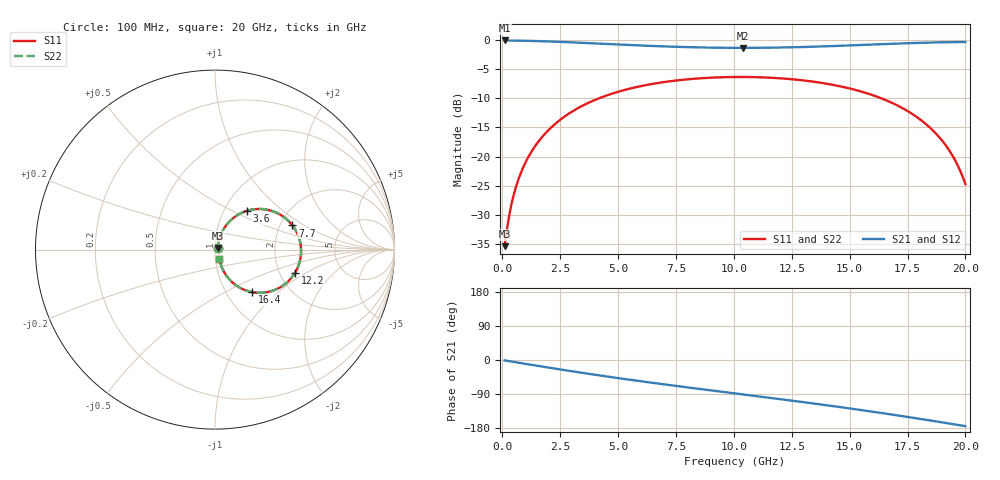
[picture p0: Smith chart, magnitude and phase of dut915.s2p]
! Touchstone file exported from HFSS 2026.1.0
!  File:  C:/ffzhzh/LocalFiles/Ansys_Project_Files/temp_train_TSV_RDL_915_1783278646_38704.aedt
!  Generated:  03:19:28 AM Jul  6, 2026
!  Design:  TSV_RDL
!  Project:  temp_train_TSV_RDL_915_1783278646_38704
! Variables:
!  h_bsmrdl = 3.69um
!  h_ox = 20um
!  h_rdl = 5um
!  h_sub = 78.26um
!  h_tmrdl = 5.04um
!  h_tsv = 78.26um
!  h_via = 3um
!  l_bsmrdl = 551.49um
!  l_sub = 2828.33um
!  l_tmrdl = 165.67um
!  m_sub = 200um
!  pitch = 40.9um
!  r_tsv = 9.58um
!  s_tmrdl = 10um
!  w_bsmrdl = 14.59um
!  w_sub = 500um
!  w_tmrdl = 22.47um
!  x_tsv_center1 = 176.905um
!  x_tsv_center2 = 742.985um
!  x_tsv_center3 = 931.125um
!  x_tsv_center4 = 1497.205um
!  x_tsv_center5 = 1685.345um
!  x_tsv_center6 = 2251.425um
# GHz S MA R 50.000000
! Terminal data exported
! Port[1] = TM_RDL1_1_T1
! Port[2] = TM_RDL5_1_T1
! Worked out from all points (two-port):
!   200 points, 100 MHz to 20 GHz, reference 50 ohm
!   highest |S21| = -0.12 dB at 100 MHz (marker M1); lowest = -1.4 dB at 10.4 GHz (marker M2)
!   |S21| within 3 dB of the highest: start of sweep to end of sweep
!   lowest |S11| = -35.4 dB at 100 MHz (marker M3), VSWR 1.03, Z = 51.5 + j0.943 ohm
!   |S11| at or under -10 dB: start of sweep to 4.196 GHz; 16.35 GHz to end of sweep
!   |S22| runs from -35.4 to -6.4 dB; largest |S21 - S12| = 1.8e-14
!   S11 on the Smith chart (normalised r, x): 100 MHz: 1.03, +0.02; 3.6 GHz: 1.28, +0.60; 7.7 GHz: 2.33, +0.79; 12.2 GHz: 2.42, -0.80; 16.4 GHz: 1.31, -0.69; 20 GHz: 1.05, -0.11
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0.1  0.01707 32.5  0.9857 -1.1  0.9857 -1.1  0.01707 32.5
! Gamma 0 0 0 0
! Port Impedance 50 0 50 0
0.3  0.03137 57.9  0.9844 -3.1  0.9844 -3.1  0.03137 57.9
0.5  0.04752 65.2  0.983 -5.2  0.983 -5.2  0.04752 65.2
0.8  0.07226 68.4  0.9807 -8.2  0.9807 -8.2  0.07226 68.4
1.1  0.097 68.5  0.978 -11.2  0.978 -11.2  0.097 68.5
2.1  0.1764 62.7  0.9653 -21.0  0.9653 -21.0  0.1764 62.7
3.5  0.2745 51.3  0.9403 -34.3  0.9403 -34.3  0.2745 51.3
3.6  0.2808 50.4  0.9383 -35.2  0.9383 -35.2  0.2808 50.4
5.1  0.3629 37.9  0.9086 -48.6  0.9086 -48.6  0.3629 37.9
6.8  0.4284 24.3  0.8792 -62.8  0.8792 -62.8  0.4284 24.3
7.7  0.4519 17.3  0.8673 -70.0  0.8673 -70.0  0.4519 17.3
10.1  0.4797 -0.6  0.852 -88.6  0.852 -88.6  0.4797 -0.6
10.4  0.4798 -2.8  0.8518 -90.9  0.8518 -90.9  0.4798 -2.8
12.2  0.4643 -16.2  0.8591 -104.8  0.8591 -104.8  0.4643 -16.2
13.4  0.4383 -25.3  0.871 -114.4  0.871 -114.4  0.4383 -25.3
15  0.3827 -37.8  0.8936 -127.7  0.8936 -127.7  0.3827 -37.8
16.4  0.3133 -49.0  0.9165 -140.0  0.9165 -140.0  0.3133 -49.0
16.7  0.2959 -51.5  0.9214 -142.8  0.9214 -142.8  0.2959 -51.5
17.9  0.2179 -60.9  0.9391 -154.0  0.9391 -154.0  0.2179 -60.9
18.8  0.1518 -66.8  0.9493 -162.7  0.9493 -162.7  0.1518 -66.9
19.5  0.09722 -68.9  0.9543 -169.6  0.9543 -169.6  0.09721 -68.9
20  0.05803 -64.6  0.9562 -174.5  0.9562 -174.5  0.05801 -64.8
